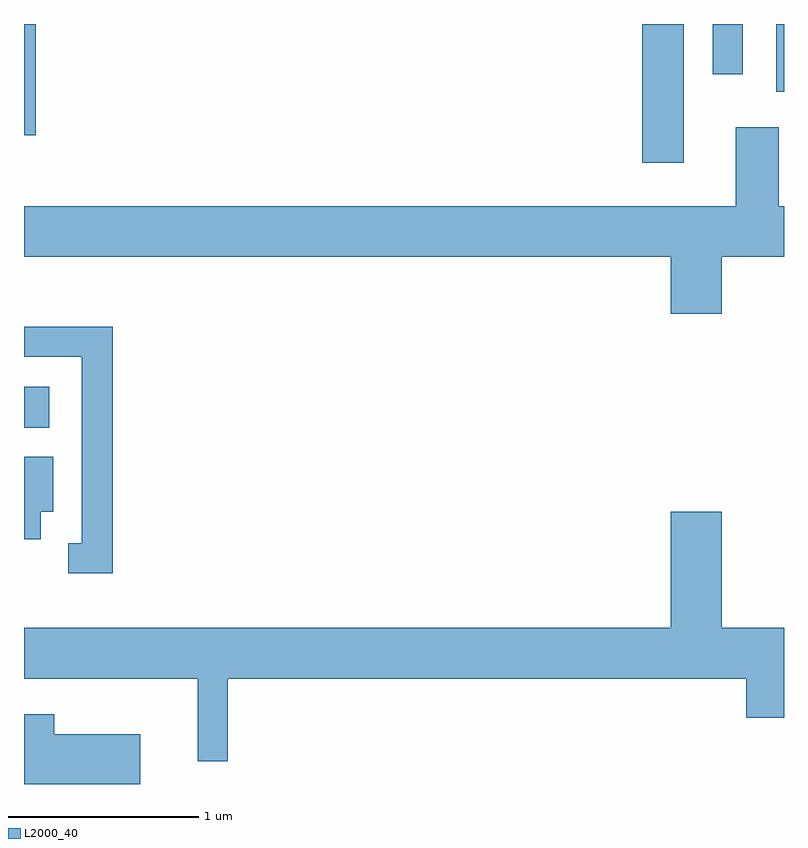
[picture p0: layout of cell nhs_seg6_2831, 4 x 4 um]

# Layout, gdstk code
import gdstk
lib = gdstk.Library(unit=1e-6, precision=1e-09)
def R(c, l, rs):  # rectangles x0, y0, x1, y1
    for r in rs: c.add(gdstk.rectangle(r[:2], r[2:], *l))
def P(c, l, *ps):  # polygons
    for p in ps: c.add(gdstk.Polygon(p, *l))
L2000_40 = (2000, 40)

nhs_seg6_2831 = lib.new_cell('nhs_seg6_2831')
R(nhs_seg6_2831, L2000_40, [(271.611,1538.036,271.744,1538.254), (274.866,1539.431,275.084,1540.162), (271.611,1539.576,271.674,1540.162), (275.571,1539.806,275.611,1540.162), (275.236,1539.898,275.394,1540.162)])
P(nhs_seg6_2831, L2000_40, [(275.284,1538.936),(275.611,1538.936),(275.611,1539.204),(275.584,1539.204),(275.584,1539.619),(275.356,1539.619),(275.356,1539.204),(271.611,1539.204),(271.611,1538.936),(275.016,1538.936),(275.016,1538.636),(275.284,1538.636)],
  [(272.079,1538.569),(271.611,1538.569),(271.611,1538.411),(271.916,1538.411),(271.916,1537.429),(271.843,1537.429),(271.843,1537.271),(272.079,1537.271)],
  [(271.699,1537.596),(271.764,1537.596),(271.764,1537.884),(271.611,1537.884),(271.611,1537.451),(271.699,1537.451)],
  [(272.684,1536.716),(275.411,1536.716),(275.411,1536.511),(275.611,1536.511),(275.611,1536.984),(275.284,1536.984),(275.284,1537.594),(275.016,1537.594),(275.016,1536.984),(271.611,1536.984),(271.611,1536.716),(272.526,1536.716),(272.526,1536.283),(272.684,1536.283)],
  [(272.224,1536.424),(271.769,1536.424),(271.769,1536.528),(271.611,1536.528),(271.611,1536.162),(272.224,1536.162)])

lib.write_gds('nhs_seg6_2831.gds')
